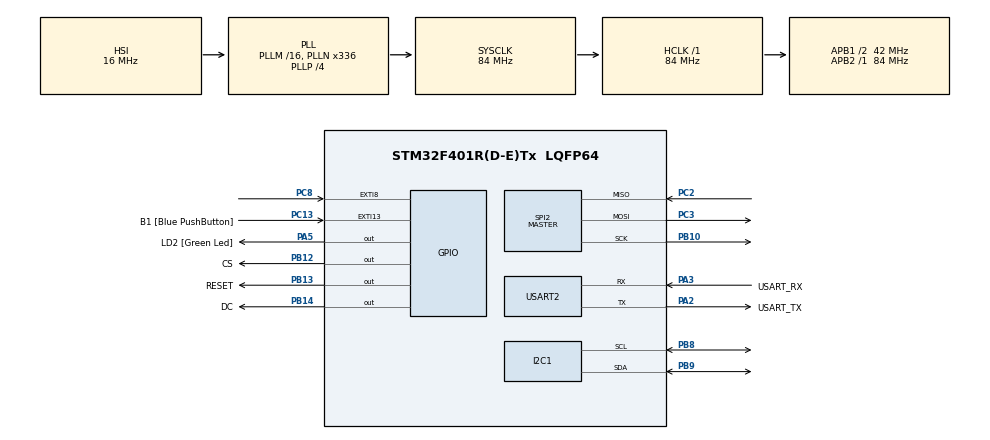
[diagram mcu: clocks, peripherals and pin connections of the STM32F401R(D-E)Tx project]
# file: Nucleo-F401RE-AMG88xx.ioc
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Mcu.Family=STM32F4
Mcu.Name=STM32F401R(D-E)Tx
Mcu.Package=LQFP64
NVIC.PriorityGroup=NVIC_PRIORITYGROUP_0
PA13.GPIO_Label=TMS
PA13.Mode=Serial_Wire
PA13.Signal=SYS_JTMS-SWDIO
PA14.GPIO_Label=TCK
PA14.Mode=Serial_Wire
PA14.Signal=SYS_JTCK-SWCLK
PA2.GPIO_Label=USART_TX
PA2.GPIO_Mode=GPIO_MODE_AF_PP
PA2.GPIO_PuPd=GPIO_NOPULL
PA2.GPIO_Speed=GPIO_SPEED_FREQ_LOW
PA2.Mode=Asynchronous
PA2.Signal=USART2_TX
PA3.GPIO_Label=USART_RX
PA3.GPIO_Mode=GPIO_MODE_AF_PP
PA3.GPIO_PuPd=GPIO_NOPULL
PA3.GPIO_Speed=GPIO_SPEED_FREQ_LOW
PA3.Mode=Asynchronous
PA3.Signal=USART2_RX
PA5.GPIO_Label=LD2 [Green Led]
PA5.GPIO_Mode=GPIO_MODE_OUTPUT_PP
PA5.GPIO_PuPd=GPIO_NOPULL
PA5.GPIO_Speed=GPIO_SPEED_FREQ_LOW
PA5.Signal=GPIO_Output
PB10.Mode=Full_Duplex_Master
PB10.Signal=SPI2_SCK
PB12.GPIO_Label=CS
PB12.GPIO_Speed=GPIO_SPEED_FREQ_HIGH
PB12.PinState=GPIO_PIN_SET
PB12.Signal=GPIO_Output
PB13.GPIO_Label=RESET
PB13.PinState=GPIO_PIN_SET
PB13.Signal=GPIO_Output
PB14.GPIO_Label=DC
PB14.Signal=GPIO_Output
PB3.GPIO_Label=SWO
PB3.Signal=SYS_JTDO-SWO
PB8.Mode=I2C
PB8.Signal=I2C1_SCL
PB9.Mode=I2C
PB9.Signal=I2C1_SDA
PC13-ANTI_TAMP.GPIO_Label=B1 [Blue PushButton]
PC13-ANTI_TAMP.GPIO_ModeDefaultEXTI=GPIO_MODE_IT_FALLING
PC13-ANTI_TAMP.GPIO_PuPd=GPIO_NOPULL
PC13-ANTI_TAMP.Signal=GPXTI13
PC14-OSC32_IN.Mode=LSE-External-Oscillator
PC14-OSC32_IN.Signal=RCC_OSC32_IN
PC15-OSC32_OUT.Mode=LSE-External-Oscillator
PC15-OSC32_OUT.Signal=RCC_OSC32_OUT
PC2.Mode=Full_Duplex_Master
PC2.Signal=SPI2_MISO
PC3.Mode=Full_Duplex_Master
PC3.Signal=SPI2_MOSI
PC8.Signal=GPXTI8
PH0\ -\ OSC_IN.Mode=HSE-External-Clock-Source
PH0\ -\ OSC_IN.Signal=RCC_OSC_IN
PH1\ -\ OSC_OUT.Mode=HSE-External-Clock-Source
PH1\ -\ OSC_OUT.Signal=RCC_OSC_OUT
ProjectManager.HeapSize=0x200
ProjectManager.StackSize=0x400
ProjectManager.TargetToolchain=MDK-ARM V5
RCC.48MHZClocksFreq_Value=48000000
RCC.AHBFreq_Value=84000000
RCC.APB1CLKDivider=RCC_HCLK_DIV2
RCC.APB1Freq_Value=42000000
RCC.APB1TimFreq_Value=84000000
RCC.APB2Freq_Value=84000000
RCC.APB2TimFreq_Value=84000000
RCC.CortexFreq_Value=84000000
RCC.HCLKFreq_Value=84000000
RCC.HSE_VALUE=8000000
RCC.HSI_VALUE=16000000
RCC.PLLN=336
RCC.PLLP=RCC_PLLP_DIV4
RCC.PLLQ=7
RCC.SYSCLKFreq_VALUE=84000000
RCC.SYSCLKSource=RCC_SYSCLKSOURCE_PLLCLK
RCC.VCOOutputFreq_Value=336000000
SPI2.BaudRatePrescaler=SPI_BAUDRATEPRESCALER_32
SPI2.Direction=SPI_DIRECTION_2LINES
SPI2.Mode=SPI_MODE_MASTER
SPI2.VirtualType=VM_MASTER
USART2.VirtualMode=VM_ASYNC
board=NUCLEO-F401RE

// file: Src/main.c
/**
  ******************************************************************************
  * @file           : main.c
  * @brief          : Main program body
  ******************************************************************************
  ** This notice applies to any and all portions of this file
  * that are not between comment pairs USER CODE BEGIN and
  * USER CODE END. Other portions of this file, whether
  * inserted by the user or by software development tools
  * are owned by their respective copyright owners.
  *
  * COPYRIGHT(c) 2018 STMicroelectronics
  *
  * Redistribution and use in source and binary forms, with or without modification,
  * are permitted provided that the following conditions are met:
  *   1. Redistributions of source code must retain the above copyright notice,
  *      this list of conditions and the following disclaimer.
  *   2. Redistributions in binary form must reproduce the above copyright notice,
  *      this list of conditions and the following disclaimer in the documentation
  *      and/or other materials provided with the distribution.
  *   3. Neither the name of STMicroelectronics nor the names of its contributors
  *      may be used to endorse or promote products derived from this software
  *      without specific prior written permission.
  *
  * THIS SOFTWARE IS PROVIDED BY THE COPYRIGHT HOLDERS AND CONTRIBUTORS "AS IS"
  * AND ANY EXPRESS OR IMPLIED WARRANTIES, INCLUDING, BUT NOT LIMITED TO, THE
  * IMPLIED WARRANTIES OF MERCHANTABILITY AND FITNESS FOR A PARTICULAR PURPOSE ARE
  * DISCLAIMED. IN NO EVENT SHALL THE COPYRIGHT HOLDER OR CONTRIBUTORS BE LIABLE
  * FOR ANY DIRECT, INDIRECT, INCIDENTAL, SPECIAL, EXEMPLARY, OR CONSEQUENTIAL
  * DAMAGES (INCLUDING, BUT NOT LIMITED TO, PROCUREMENT OF SUBSTITUTE GOODS OR
  * SERVICES; LOSS OF USE, DATA, OR PROFITS; OR BUSINESS INTERRUPTION) HOWEVER
  * CAUSED AND ON ANY THEORY OF LIABILITY, WHETHER IN CONTRACT, STRICT LIABILITY,
  * OR TORT (INCLUDING NEGLIGENCE OR OTHERWISE) ARISING IN ANY WAY OUT OF THE USE
  * OF THIS SOFTWARE, EVEN IF ADVISED OF THE POSSIBILITY OF SUCH DAMAGE.
  *
  ******************************************************************************
  */
#include "main.h"
#include "stm32f4xx_hal.h"

/* USER CODE BEGIN Includes */
#include "Adafruit_AMG88xx.h"
#include "Adafruit_ILI9341.h"
#include "bilinear.h"
/* USER CODE END Includes */

I2C_HandleTypeDef hi2c1;

SPI_HandleTypeDef hspi2;

UART_HandleTypeDef huart2;

/* USER CODE BEGIN PV */
/* Private variables ---------------------------------------------------------*/

/* USER CODE END PV */

void SystemClock_Config(void);
static void MX_GPIO_Init(void);
static void MX_USART2_UART_Init(void);
static void MX_I2C1_Init(void);
static void MX_SPI2_Init(void);

/* USER CODE BEGIN PFP */
/* Private function prototypes -----------------------------------------------*/

/* USER CODE END PFP */

/* USER CODE BEGIN 0 */
float pixels[64];
int16_t pixelsRaw[64];

#define RESIZE_X 128
#define RESIZE_Y 128

int16_t pixelsRawResize[RESIZE_X*RESIZE_Y];

const uint16_t camColors[] = {0x480F,
                              0x400F, 0x400F, 0x400F, 0x4010, 0x3810, 0x3810, 0x3810, 0x3810, 0x3010, 0x3010,
                              0x3010, 0x2810, 0x2810, 0x2810, 0x2810, 0x2010, 0x2010, 0x2010, 0x1810, 0x1810,
                              0x1811, 0x1811, 0x1011, 0x1011, 0x1011, 0x0811, 0x0811, 0x0811, 0x0011, 0x0011,
                              0x0011, 0x0011, 0x0011, 0x0031, 0x0031, 0x0051, 0x0072, 0x0072, 0x0092, 0x00B2,
                              0x00B2, 0x00D2, 0x00F2, 0x00F2, 0x0112, 0x0132, 0x0152, 0x0152, 0x0172, 0x0192,
                              0x0192, 0x01B2, 0x01D2, 0x01F3, 0x01F3, 0x0213, 0x0233, 0x0253, 0x0253, 0x0273,
                              0x0293, 0x02B3, 0x02D3, 0x02D3, 0x02F3, 0x0313, 0x0333, 0x0333, 0x0353, 0x0373,
                              0x0394, 0x03B4, 0x03D4, 0x03D4, 0x03F4, 0x0414, 0x0434, 0x0454, 0x0474, 0x0474,
                              0x0494, 0x04B4, 0x04D4, 0x04F4, 0x0514, 0x0534, 0x0534, 0x0554, 0x0554, 0x0574,
                              0x0574, 0x0573, 0x0573, 0x0573, 0x0572, 0x0572, 0x0572, 0x0571, 0x0591, 0x0591,
                              0x0590, 0x0590, 0x058F, 0x058F, 0x058F, 0x058E, 0x05AE, 0x05AE, 0x05AD, 0x05AD,
                              0x05AD, 0x05AC, 0x05AC, 0x05AB, 0x05CB, 0x05CB, 0x05CA, 0x05CA, 0x05CA, 0x05C9,
                              0x05C9, 0x05C8, 0x05E8, 0x05E8, 0x05E7, 0x05E7, 0x05E6, 0x05E6, 0x05E6, 0x05E5,
                              0x05E5, 0x0604, 0x0604, 0x0604, 0x0603, 0x0603, 0x0602, 0x0602, 0x0601, 0x0621,
                              0x0621, 0x0620, 0x0620, 0x0620, 0x0620, 0x0E20, 0x0E20, 0x0E40, 0x1640, 0x1640,
                              0x1E40, 0x1E40, 0x2640, 0x2640, 0x2E40, 0x2E60, 0x3660, 0x3660, 0x3E60, 0x3E60,
                              0x3E60, 0x4660, 0x4660, 0x4E60, 0x4E80, 0x5680, 0x5680, 0x5E80, 0x5E80, 0x6680,
                              0x6680, 0x6E80, 0x6EA0, 0x76A0, 0x76A0, 0x7EA0, 0x7EA0, 0x86A0, 0x86A0, 0x8EA0,
                              0x8EC0, 0x96C0, 0x96C0, 0x9EC0, 0x9EC0, 0xA6C0, 0xAEC0, 0xAEC0, 0xB6E0, 0xB6E0,
                              0xBEE0, 0xBEE0, 0xC6E0, 0xC6E0, 0xCEE0, 0xCEE0, 0xD6E0, 0xD700, 0xDF00, 0xDEE0,
                              0xDEC0, 0xDEA0, 0xDE80, 0xDE80, 0xE660, 0xE640, 0xE620, 0xE600, 0xE5E0, 0xE5C0,
                              0xE5A0, 0xE580, 0xE560, 0xE540, 0xE520, 0xE500, 0xE4E0, 0xE4C0, 0xE4A0, 0xE480,
                              0xE460, 0xEC40, 0xEC20, 0xEC00, 0xEBE0, 0xEBC0, 0xEBA0, 0xEB80, 0xEB60, 0xEB40,
                              0xEB20, 0xEB00, 0xEAE0, 0xEAC0, 0xEAA0, 0xEA80, 0xEA60, 0xEA40, 0xF220, 0xF200,
                              0xF1E0, 0xF1C0, 0xF1A0, 0xF180, 0xF160, 0xF140, 0xF100, 0xF0E0, 0xF0C0, 0xF0A0,
                              0xF080, 0xF060, 0xF040, 0xF020, 0xF800,
                             };
/* USER CODE END 0 */

int main(void)
{
  /* USER CODE BEGIN 1 */
	int i;
	uint16_t point = 0;
  /* USER CODE END 1 */

  /* MCU Configuration----------------------------------------------------------*/

  /* Reset of all peripherals, Initializes the Flash interface and the Systick. */
  HAL_Init();

  /* Configure the system clock */
  SystemClock_Config();

  /* Initialize all configured peripherals */
  MX_GPIO_Init();
  MX_USART2_UART_Init();
  MX_I2C1_Init();
  MX_SPI2_Init();
  /* USER CODE BEGIN 2 */

	amg88xxInit();
	ILI9341Init();
	HAL_Delay(120);
  /* USER CODE END 2 */

  /* Infinite loop */
  while (1)
  {

  /* USER CODE BEGIN 3 */
		while(0){
			//drawFastVLine(0, 0, i, ILI9341_ORANGE);
			HAL_Delay(20);
			fillRect(0, 0, point, point, ILI9341_ORANGE+point);
			//drawPixel(point, point, ILI9341_ORANGE);
			//pushColor(point);
			point++;
			point %= 200;
			HAL_GPIO_TogglePin(LD2_GPIO_Port, LD2_Pin);
		}

		readPixelsRaw(pixelsRaw);

		for(i=0; i<64; i++)
			pixelsRaw[i] = (pixelsRaw[i]-80)<<2;

#if 1

		resizeBilinearGrey(pixelsRaw, pixelsRawResize, 8, 8, RESIZE_X, RESIZE_Y);

		for(i=0; i< RESIZE_X*RESIZE_Y; i++){
			if(pixelsRawResize[i] < 0)
				pixelsRawResize[i] = 0;
			if(pixelsRawResize[i] > 255)
				pixelsRawResize[i] = 255;

			pixelsRawResize[i] = camColors[pixelsRawResize[i]];
		}

		drawRGBBitmap(0, 0, (uint16_t*)pixelsRawResize, RESIZE_X, RESIZE_Y);

		HAL_GPIO_TogglePin(LD2_GPIO_Port, LD2_Pin);
		continue;

		for(i=0; i<64; i++)
			pixelsRaw[i] = pixelsRaw[i] << 0;
		drawRGBBitmap(0, 0, pixelsRaw, 8, 8);
		continue;
#endif

		for(i=0; i<64; i++){
			if((i & 0x7) == 0)
				printf("\r\n");
			printf("%i ", pixelsRaw[i]);
		}

		/* Return home */
		printf("%c[0;0f", 0x1b);
  }
  /* USER CODE END 3 */

}

void SystemClock_Config(void)
{

  RCC_OscInitTypeDef RCC_OscInitStruct;
  RCC_ClkInitTypeDef RCC_ClkInitStruct;

    /**Configure the main internal regulator output voltage
    */
  __HAL_RCC_PWR_CLK_ENABLE();

  __HAL_PWR_VOLTAGESCALING_CONFIG(PWR_REGULATOR_VOLTAGE_SCALE2);

    /**Initializes the CPU, AHB and APB busses clocks
    */
  RCC_OscInitStruct.OscillatorType = RCC_OSCILLATORTYPE_HSI;
  RCC_OscInitStruct.HSIState = RCC_HSI_ON;
  RCC_OscInitStruct.HSICalibrationValue = 16;
  RCC_OscInitStruct.PLL.PLLState = RCC_PLL_ON;
  RCC_OscInitStruct.PLL.PLLSource = RCC_PLLSOURCE_HSI;
  RCC_OscInitStruct.PLL.PLLM = 16;
  RCC_OscInitStruct.PLL.PLLN = 336;
  RCC_OscInitStruct.PLL.PLLP = RCC_PLLP_DIV4;
  RCC_OscInitStruct.PLL.PLLQ = 7;
  if (HAL_RCC_OscConfig(&RCC_OscInitStruct) != HAL_OK)
  {
    _Error_Handler(__FILE__, __LINE__);
  }

    /**Initializes the CPU, AHB and APB busses clocks
    */
  RCC_ClkInitStruct.ClockType = RCC_CLOCKTYPE_HCLK|RCC_CLOCKTYPE_SYSCLK
                              |RCC_CLOCKTYPE_PCLK1|RCC_CLOCKTYPE_PCLK2;
  RCC_ClkInitStruct.SYSCLKSource = RCC_SYSCLKSOURCE_PLLCLK;
  RCC_ClkInitStruct.AHBCLKDivider = RCC_SYSCLK_DIV1;
  RCC_ClkInitStruct.APB1CLKDivider = RCC_HCLK_DIV2;
  RCC_ClkInitStruct.APB2CLKDivider = RCC_HCLK_DIV1;

  if (HAL_RCC_ClockConfig(&RCC_ClkInitStruct, FLASH_LATENCY_2) != HAL_OK)
  {
    _Error_Handler(__FILE__, __LINE__);
  }

    /**Configure the Systick interrupt time
    */
  HAL_SYSTICK_Config(HAL_RCC_GetHCLKFreq()/1000);

    /**Configure the Systick
    */
  HAL_SYSTICK_CLKSourceConfig(SYSTICK_CLKSOURCE_HCLK);

  /* SysTick_IRQn interrupt configuration */
  HAL_NVIC_SetPriority(SysTick_IRQn, 0, 0);
}

/* I2C1 init function */
static void MX_I2C1_Init(void)
{

  hi2c1.Instance = I2C1;
  hi2c1.Init.ClockSpeed = 100000;
  hi2c1.Init.DutyCycle = I2C_DUTYCYCLE_2;
  hi2c1.Init.OwnAddress1 = 0;
  hi2c1.Init.AddressingMode = I2C_ADDRESSINGMODE_7BIT;
  hi2c1.Init.DualAddressMode = I2C_DUALADDRESS_DISABLE;
  hi2c1.Init.OwnAddress2 = 0;
  hi2c1.Init.GeneralCallMode = I2C_GENERALCALL_DISABLE;
  hi2c1.Init.NoStretchMode = I2C_NOSTRETCH_DISABLE;
  if (HAL_I2C_Init(&hi2c1) != HAL_OK)
  {
    _Error_Handler(__FILE__, __LINE__);
  }

}

/* SPI2 init function */
static void MX_SPI2_Init(void)
{

  /* SPI2 parameter configuration*/
  hspi2.Instance = SPI2;
  hspi2.Init.Mode = SPI_MODE_MASTER;
  hspi2.Init.Direction = SPI_DIRECTION_2LINES;
  hspi2.Init.DataSize = SPI_DATASIZE_8BIT;
  hspi2.Init.CLKPolarity = SPI_POLARITY_LOW;
  hspi2.Init.CLKPhase = SPI_PHASE_1EDGE;
  hspi2.Init.NSS = SPI_NSS_SOFT;
  hspi2.Init.BaudRatePrescaler = SPI_BAUDRATEPRESCALER_4;
  hspi2.Init.FirstBit = SPI_FIRSTBIT_MSB;
  hspi2.Init.TIMode = SPI_TIMODE_DISABLE;
  hspi2.Init.CRCCalculation = SPI_CRCCALCULATION_DISABLE;
  hspi2.Init.CRCPolynomial = 10;
  if (HAL_SPI_Init(&hspi2) != HAL_OK)
  {
    _Error_Handler(__FILE__, __LINE__);
  }

}

/* USART2 init function */
static void MX_USART2_UART_Init(void)
{

  huart2.Instance = USART2;
  huart2.Init.BaudRate = 115200;
  huart2.Init.WordLength = UART_WORDLENGTH_8B;
  huart2.Init.StopBits = UART_STOPBITS_1;
  huart2.Init.Parity = UART_PARITY_NONE;
  huart2.Init.Mode = UART_MODE_TX_RX;
  huart2.Init.HwFlowCtl = UART_HWCONTROL_NONE;
  huart2.Init.OverSampling = UART_OVERSAMPLING_16;
  if (HAL_UART_Init(&huart2) != HAL_OK)
  {
    _Error_Handler(__FILE__, __LINE__);
  }

}

/** Configure pins as
        * Analog
        * Input
        * Output
        * EVENT_OUT
        * EXTI
*/
static void MX_GPIO_Init(void)
{

  GPIO_InitTypeDef GPIO_InitStruct;

  /* GPIO Ports Clock Enable */
  __HAL_RCC_GPIOC_CLK_ENABLE();
  __HAL_RCC_GPIOH_CLK_ENABLE();
  __HAL_RCC_GPIOA_CLK_ENABLE();
  __HAL_RCC_GPIOB_CLK_ENABLE();

  /*Configure GPIO pin Output Level */
  HAL_GPIO_WritePin(LD2_GPIO_Port, LD2_Pin, GPIO_PIN_RESET);

  /*Configure GPIO pin Output Level */
  HAL_GPIO_WritePin(GPIOB, CS_Pin|RESET_Pin, GPIO_PIN_SET);

  /*Configure GPIO pin Output Level */
  HAL_GPIO_WritePin(DC_GPIO_Port, DC_Pin, GPIO_PIN_RESET);

  /*Configure GPIO pin : B1_Pin */
  GPIO_InitStruct.Pin = B1_Pin;
  GPIO_InitStruct.Mode = GPIO_MODE_IT_FALLING;
  GPIO_InitStruct.Pull = GPIO_NOPULL;
  HAL_GPIO_Init(B1_GPIO_Port, &GPIO_InitStruct);

  /*Configure GPIO pin : LD2_Pin */
  GPIO_InitStruct.Pin = LD2_Pin;
  GPIO_InitStruct.Mode = GPIO_MODE_OUTPUT_PP;
  GPIO_InitStruct.Pull = GPIO_NOPULL;
  GPIO_InitStruct.Speed = GPIO_SPEED_FREQ_LOW;
  HAL_GPIO_Init(LD2_GPIO_Port, &GPIO_InitStruct);

  /*Configure GPIO pin : CS_Pin */
  GPIO_InitStruct.Pin = CS_Pin;
  GPIO_InitStruct.Mode = GPIO_MODE_OUTPUT_PP;
  GPIO_InitStruct.Pull = GPIO_NOPULL;
  GPIO_InitStruct.Speed = GPIO_SPEED_FREQ_HIGH;
  HAL_GPIO_Init(CS_GPIO_Port, &GPIO_InitStruct);

  /*Configure GPIO pins : RESET_Pin DC_Pin */
  GPIO_InitStruct.Pin = RESET_Pin|DC_Pin;
  GPIO_InitStruct.Mode = GPIO_MODE_OUTPUT_PP;
  GPIO_InitStruct.Pull = GPIO_NOPULL;
  GPIO_InitStruct.Speed = GPIO_SPEED_FREQ_LOW;
  HAL_GPIO_Init(GPIOB, &GPIO_InitStruct);

  /*Configure GPIO pin : PC8 */
  GPIO_InitStruct.Pin = GPIO_PIN_8;
  GPIO_InitStruct.Mode = GPIO_MODE_IT_RISING;
  GPIO_InitStruct.Pull = GPIO_NOPULL;
  HAL_GPIO_Init(GPIOC, &GPIO_InitStruct);

}

/* USER CODE BEGIN 4 */

int fputc(int c, FILE *stream)
{
	uint8_t data = c;

	HAL_UART_Transmit(&huart2, &data, 1, 0xffff);
	return c;
}

/* USER CODE END 4 */

void _Error_Handler(char *file, int line)
{
  while(1)
  {
  }
}

/************************ (C) COPYRIGHT STMicroelectronics *****END OF FILE****/
